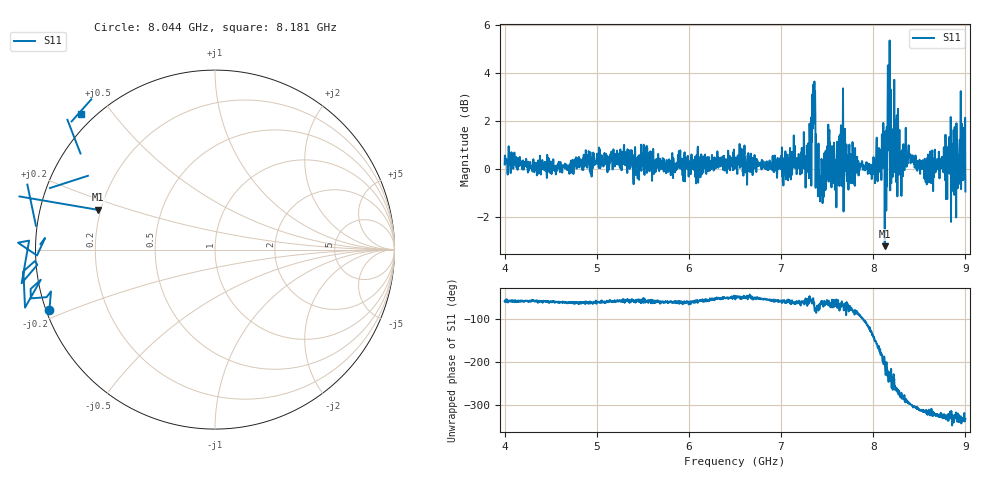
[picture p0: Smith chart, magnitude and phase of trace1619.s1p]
! Created with skrf 1.8.0 (http://scikit-rf.org).
# Hz S RI R 50.0
!freq ReS11 ImS11
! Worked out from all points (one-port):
!   1601 points, 4 GHz to 9 GHz, reference 50 ohm
!   lowest |S11| = -3.2 dB at 8.125 GHz (marker M1), VSWR 5.46, Z = 9.4 + j7.97 ohm
!   |S11| at or under -10 dB: nowhere
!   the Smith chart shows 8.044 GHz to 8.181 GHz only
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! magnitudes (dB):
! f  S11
! 4 GHz  0.2
! 4.625 GHz  -0.1
! 5.25 GHz  0.1
! 5.875 GHz  0.1
! 6.5 GHz  0.3
! 7.125 GHz  0.2
! 7.281 GHz  0.9
! 7.309 GHz  1.9
! 7.347 GHz  3.5
! 7.372 GHz  2.2
! 7.4 GHz  -1.1
! 7.425 GHz  -0.6
! 7.472 GHz  0.2
! 7.509 GHz  0.5
! 7.609 GHz  1.1
! 7.65 GHz  1.8
! 7.75 GHz  -0.3
! 8 GHz  -0.1
! 8.125 GHz  -3.2
! 8.162 GHz  0.9
! 8.209 GHz  1.1
! 8.312 GHz  0.8
! 8.375 GHz  0.5
! 8.566 GHz  0.1
! 8.816 GHz  0.9
! 8.875 GHz  0.9
! 8.972 GHz  0.3
! 9 GHz  -0.9
